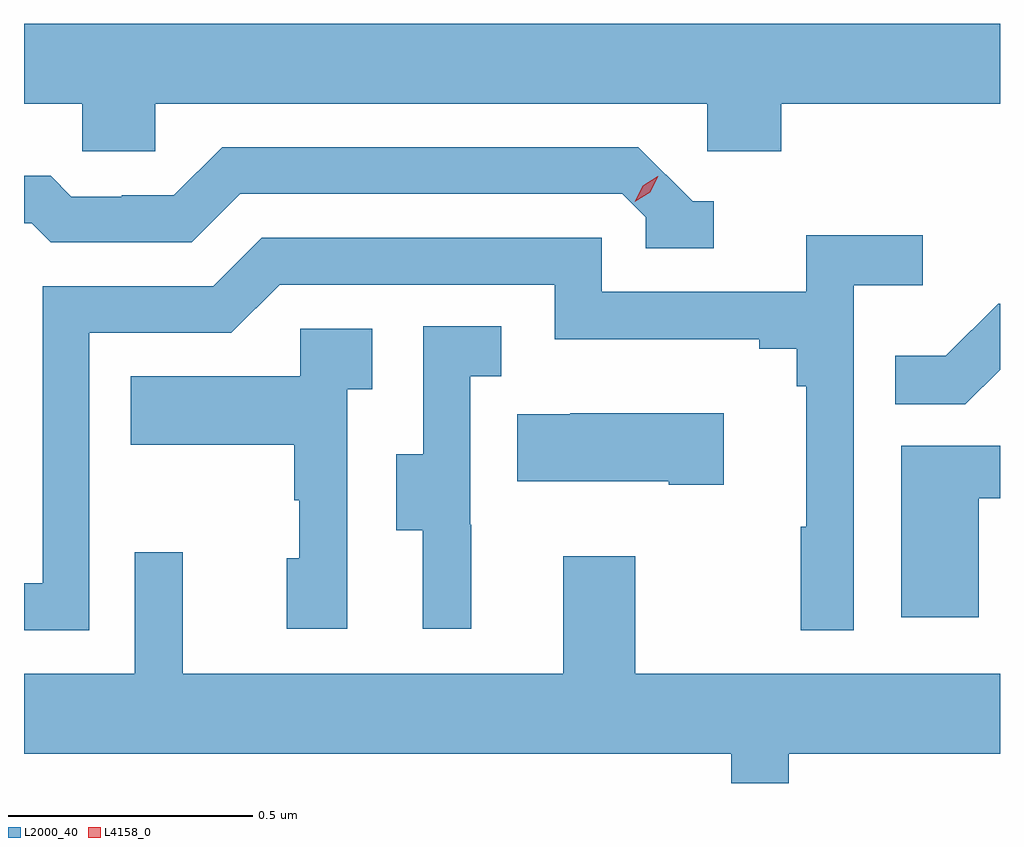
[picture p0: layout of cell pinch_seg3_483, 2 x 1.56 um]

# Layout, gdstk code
import gdstk
lib = gdstk.Library(unit=1e-6, precision=1e-09)
def P(c, l, *ps):  # polygons
    for p in ps: c.add(gdstk.Polygon(p, *l))
L2000_40 = (2000, 40)
L4158_0 = (4158, 0)

pinch_seg3_483 = lib.new_cell('pinch_seg3_483')
P(pinch_seg3_483, L2000_40, [(936.106,684.932),(936.225,684.932),(936.225,684.834),(936.375,684.834),(936.375,684.932),(937.506,684.932),(937.506,684.834),(937.658,684.834),(937.658,684.932),(938.106,684.932),(938.106,685.096),(936.106,685.096)],
  [(937.519,684.732),(937.476,684.732),(937.365,684.843),(936.512,684.843),(936.413,684.744),(936.306,684.744),(936.306,684.741),(936.203,684.741),(936.161,684.784),(936.106,684.784),(936.106,684.687),(936.122,684.687),(936.161,684.648),(936.45,684.648),(936.549,684.747),(937.332,684.747),(937.38,684.699),(937.38,684.636),(937.519,684.636)],
  [(936.24,684.462),(936.531,684.462),(936.63,684.561),(937.194,684.561),(937.194,684.449),(937.613,684.449),(937.613,684.43),(937.69,684.43),(937.69,684.353),(937.709,684.353),(937.709,684.065),(937.698,684.065),(937.698,683.853),(937.806,683.853),(937.806,684.56),(937.948,684.56),(937.948,684.662),(937.709,684.662),(937.709,684.546),(937.29,684.546),(937.29,684.657),(936.593,684.657),(936.494,684.558),(936.144,684.558),(936.144,683.949),(936.106,683.949),(936.106,683.853),(936.24,683.853)],
  [(938.106,684.387),(938.106,684.522),(938.102,684.522),(937.995,684.415),(937.891,684.415),(937.891,684.316),(938.035,684.316)],
  [(937.022,684.069),(937.02,684.069),(937.02,684.373),(937.084,684.373),(937.084,684.476),(936.924,684.476),(936.924,684.213),(936.869,684.213),(936.869,684.058),(936.923,684.058),(936.923,683.856),(937.022,683.856)],
  [(936.768,684.347),(936.82,684.347),(936.82,684.471),(936.672,684.471),(936.672,684.373),(936.325,684.373),(936.325,684.233),(936.66,684.233),(936.66,684.119),(936.67,684.119),(936.67,684),(936.644,684),(936.644,683.856),(936.768,683.856)],
  [(937.54,684.298),(937.225,684.298),(937.225,684.295),(937.117,684.295),(937.117,684.158),(937.427,684.158),(937.427,684.151),(937.54,684.151)],
  [(938.062,684.123),(938.106,684.123),(938.106,684.231),(937.904,684.231),(937.904,683.88),(938.062,683.88)],
  [(937.673,683.6),(938.106,683.6),(938.106,683.764),(937.359,683.764),(937.359,684.004),(937.211,684.004),(937.211,683.764),(936.431,683.764),(936.431,684.013),(936.333,684.013),(936.333,683.764),(936.106,683.764),(936.106,683.6),(937.555,683.6),(937.555,683.539),(937.673,683.539)])
P(pinch_seg3_483, L4158_0, [(937.358,684.731),(937.358,684.731),(937.374,684.764),(937.405,684.783),(937.406,684.783),(937.406,684.783),(937.389,684.75),(937.358,684.731)])

lib.write_gds('pinch_seg3_483.gds')
